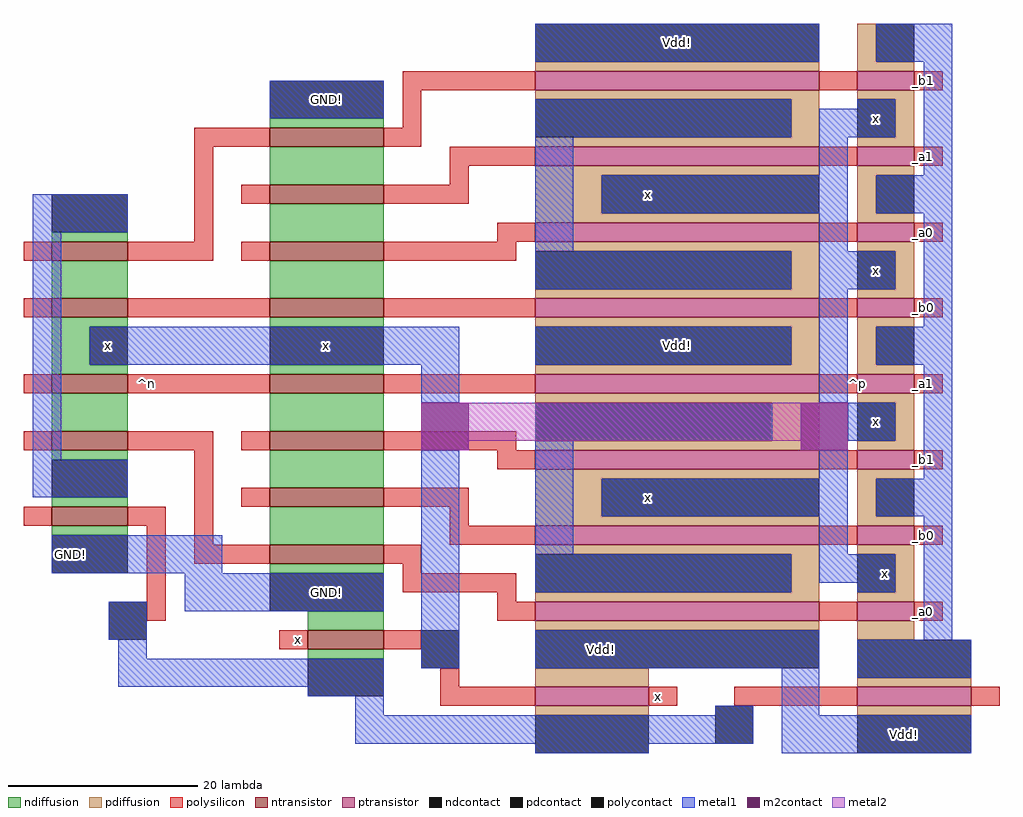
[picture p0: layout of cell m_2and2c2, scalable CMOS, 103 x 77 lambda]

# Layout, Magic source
magic
tech scmos
<< ndiffusion >>
rect 28 102 40 103
rect 5 90 13 91
rect 28 96 40 100
rect 28 90 40 94
rect 5 84 13 88
rect 28 84 40 88
rect 5 81 13 82
rect 5 77 9 81
rect 5 76 13 77
rect 28 81 40 82
rect 28 76 40 77
rect 5 70 13 74
rect 28 70 40 74
rect 5 67 13 68
rect 5 62 13 63
rect 5 59 13 60
rect 28 64 40 68
rect 28 58 40 62
rect 28 55 40 56
rect 32 49 40 51
rect 32 46 40 47
<< pdiffusion >>
rect 56 108 86 109
rect 90 109 92 113
rect 90 108 96 109
rect 56 105 86 106
rect 83 101 86 105
rect 56 100 86 101
rect 90 105 96 106
rect 94 101 96 105
rect 90 100 96 101
rect 56 97 86 98
rect 56 93 63 97
rect 56 92 86 93
rect 90 97 96 98
rect 90 93 92 97
rect 90 92 96 93
rect 56 89 86 90
rect 83 85 86 89
rect 56 84 86 85
rect 90 89 96 90
rect 94 85 96 89
rect 90 84 96 85
rect 56 81 86 82
rect 83 77 86 81
rect 56 76 86 77
rect 90 81 96 82
rect 90 77 92 81
rect 90 76 96 77
rect 56 73 86 74
rect 81 69 86 73
rect 56 68 86 69
rect 90 73 96 74
rect 94 69 96 73
rect 90 68 96 69
rect 56 65 86 66
rect 56 61 63 65
rect 56 60 86 61
rect 90 65 96 66
rect 90 61 92 65
rect 90 60 96 61
rect 56 57 86 58
rect 83 53 86 57
rect 56 52 86 53
rect 90 57 96 58
rect 94 53 96 57
rect 90 52 96 53
rect 56 49 86 50
rect 90 48 96 50
rect 56 43 68 45
rect 90 43 102 44
rect 56 40 68 41
rect 90 40 102 41
<< ntransistor >>
rect 28 100 40 102
rect 28 94 40 96
rect 5 88 13 90
rect 28 88 40 90
rect 5 82 13 84
rect 28 82 40 84
rect 5 74 13 76
rect 28 74 40 76
rect 5 68 13 70
rect 28 68 40 70
rect 5 60 13 62
rect 28 62 40 64
rect 28 56 40 58
rect 32 47 40 49
<< ptransistor >>
rect 56 106 86 108
rect 90 106 96 108
rect 56 98 86 100
rect 90 98 96 100
rect 56 90 86 92
rect 90 90 96 92
rect 56 82 86 84
rect 90 82 96 84
rect 56 74 86 76
rect 90 74 96 76
rect 56 66 86 68
rect 90 66 96 68
rect 56 58 86 60
rect 90 58 96 60
rect 56 50 86 52
rect 90 50 96 52
rect 56 41 68 43
rect 90 41 102 43
<< polysilicon >>
rect 42 106 56 108
rect 86 106 90 108
rect 96 106 99 108
rect 42 102 44 106
rect 20 100 28 102
rect 40 100 44 102
rect 20 90 22 100
rect 47 98 56 100
rect 86 98 90 100
rect 96 98 99 100
rect 47 96 49 98
rect 25 94 28 96
rect 40 94 49 96
rect 52 90 56 92
rect 86 90 90 92
rect 96 90 99 92
rect 2 88 5 90
rect 13 88 22 90
rect 25 88 28 90
rect 40 88 54 90
rect 2 82 5 84
rect 13 82 28 84
rect 40 82 56 84
rect 86 82 90 84
rect 96 82 99 84
rect 2 74 5 76
rect 13 74 28 76
rect 40 74 56 76
rect 86 74 90 76
rect 96 74 99 76
rect 2 68 5 70
rect 13 68 22 70
rect 25 68 28 70
rect 40 68 54 70
rect 2 60 5 62
rect 13 60 17 62
rect 15 50 17 60
rect 20 58 22 68
rect 52 66 56 68
rect 86 66 90 68
rect 96 66 99 68
rect 25 62 28 64
rect 40 62 49 64
rect 47 60 49 62
rect 47 58 56 60
rect 86 58 90 60
rect 96 58 99 60
rect 20 56 28 58
rect 40 56 44 58
rect 42 55 44 56
rect 42 53 54 55
rect 52 52 54 53
rect 52 50 56 52
rect 86 50 90 52
rect 96 50 99 52
rect 29 47 32 49
rect 40 47 44 49
rect 46 43 48 45
rect 46 41 56 43
rect 68 41 71 43
rect 77 41 90 43
rect 102 41 105 43
<< ndcontact >>
rect 28 103 40 107
rect 5 91 13 95
rect 9 77 13 81
rect 28 77 40 81
rect 5 63 13 67
rect 5 55 13 59
rect 28 51 40 55
rect 32 42 40 46
<< pdcontact >>
rect 56 109 86 113
rect 92 109 96 113
rect 56 101 83 105
rect 90 101 94 105
rect 63 93 86 97
rect 92 93 96 97
rect 56 85 83 89
rect 90 85 94 89
rect 56 77 83 81
rect 92 77 96 81
rect 56 69 81 73
rect 90 69 94 73
rect 63 61 86 65
rect 92 61 96 65
rect 56 53 83 57
rect 90 53 94 57
rect 56 45 86 49
rect 90 44 102 48
rect 56 36 68 40
rect 90 36 102 40
<< polycontact >>
rect 11 48 15 52
rect 44 45 48 49
rect 75 37 79 41
<< metal1 >>
rect 56 109 86 113
rect 92 109 100 113
rect 28 103 40 107
rect 56 101 83 105
rect 90 104 94 105
rect 86 101 94 104
rect 3 91 13 95
rect 3 67 6 91
rect 56 89 60 101
rect 86 97 89 101
rect 97 97 100 109
rect 63 93 89 97
rect 92 93 100 97
rect 86 89 89 93
rect 56 85 83 89
rect 86 85 94 89
rect 9 77 48 81
rect 56 77 83 81
rect 44 73 48 77
rect 86 73 89 85
rect 97 81 100 93
rect 92 77 100 81
rect 56 69 81 73
rect 3 63 13 67
rect 5 55 23 59
rect 11 48 15 52
rect 19 51 40 55
rect 12 46 15 48
rect 12 43 40 46
rect 44 45 48 68
rect 56 57 60 69
rect 89 69 94 73
rect 86 65 89 68
rect 97 65 100 77
rect 63 61 89 65
rect 92 61 100 65
rect 86 57 89 61
rect 56 53 83 57
rect 86 54 94 57
rect 90 53 94 54
rect 56 45 86 49
rect 97 48 100 61
rect 32 42 40 43
rect 37 40 40 42
rect 75 40 79 41
rect 37 37 79 40
rect 82 40 86 45
rect 90 44 102 48
rect 56 36 68 37
rect 82 36 102 40
<< m2contact >>
rect 44 68 49 73
rect 84 68 89 73
<< metal2 >>
rect 44 69 89 73
rect 44 68 49 69
rect 84 68 89 69
<< labels >>
rlabel polysilicon 97 91 97 91 7 _a0
rlabel polysilicon 97 99 97 99 7 _a1
rlabel polysilicon 97 83 97 83 7 _b0
rlabel polysilicon 97 107 97 107 7 _b1
rlabel polysilicon 97 51 97 51 1 _a0
rlabel polysilicon 97 75 97 75 1 _a1
rlabel polysilicon 97 59 97 59 1 _b0
rlabel polysilicon 97 67 97 67 1 _b1
rlabel space 74 36 106 114 3 ^p
rlabel space 2 42 28 108 7 ^n
rlabel polysilicon 31 48 31 48 7 x
rlabel polysilicon 69 42 69 42 7 x
rlabel pdcontact 71 111 71 111 1 Vdd!
rlabel pdcontact 71 79 71 79 1 Vdd!
rlabel ndcontact 34 53 34 53 1 GND!
rlabel ndcontact 34 105 34 105 1 GND!
rlabel ndcontact 7 57 7 57 1 GND!
rlabel pdcontact 63 47 63 47 1 Vdd!
rlabel pdcontact 95 38 95 38 1 Vdd!
rlabel ndcontact 11 79 11 79 1 x
rlabel ndcontact 34 79 34 79 1 x
rlabel pdcontact 92 87 92 87 1 x
rlabel pdcontact 92 103 92 103 1 x
rlabel pdcontact 92 71 92 71 1 x
rlabel pdcontact 93 55 93 55 1 x
rlabel pdcontact 68 95 68 95 1 x
rlabel pdcontact 68 63 68 63 1 x
<< end >>
